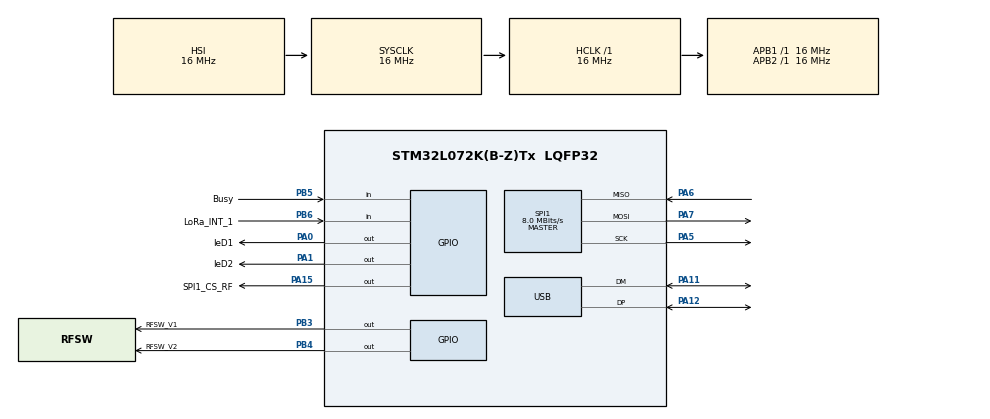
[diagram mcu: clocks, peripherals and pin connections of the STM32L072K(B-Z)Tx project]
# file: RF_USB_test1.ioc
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Mcu.Family=STM32L0
Mcu.Name=STM32L072K(B-Z)Tx
Mcu.Package=LQFP32
NVIC.USB_IRQn=true\:0\:0\:false\:false\:true\:false\:true\:true
PA0.GPIO_Label=leD1
PA0.Signal=GPIO_Output
PA1.GPIO_Label=leD2
PA1.Signal=GPIO_Output
PA11.Mode=Device
PA11.Signal=USB_DM
PA12.Mode=Device
PA12.Signal=USB_DP
PA13.Mode=Serial_Wire
PA13.Signal=SYS_SWDIO
PA14.Mode=Serial_Wire
PA14.Signal=SYS_SWCLK
PA15.GPIO_Label=SPI1_CS_RF
PA15.Signal=GPIO_Output
PA5.Mode=Full_Duplex_Master
PA5.Signal=SPI1_SCK
PA6.Mode=Full_Duplex_Master
PA6.Signal=SPI1_MISO
PA7.Mode=Full_Duplex_Master
PA7.Signal=SPI1_MOSI
PB3.GPIO_Label=RFSW_V1
PB3.Signal=GPIO_Output
PB4.GPIO_Label=RFSW_V2
PB4.Signal=GPIO_Output
PB5.GPIO_Label=Busy
PB5.Signal=GPIO_Input
PB6.GPIO_Label=LoRa_INT_1
PB6.Signal=GPIO_Input
ProjectManager.HeapSize=0x200
ProjectManager.StackSize=0x400
ProjectManager.TargetToolchain=STM32CubeIDE
RCC.AHBFreq_Value=16000000
RCC.APB1Freq_Value=16000000
RCC.APB1TimFreq_Value=16000000
RCC.APB2Freq_Value=16000000
RCC.APB2TimFreq_Value=16000000
RCC.HCLKFreq_Value=16000000
RCC.HSI16_VALUE=16000000
RCC.HSI48MClockSelection=RCC_USBCLKSOURCE_HSI48
RCC.HSI48_VALUE=48000000
RCC.HSI_VALUE=16000000
RCC.LSE_VALUE=32768
RCC.MSI_VALUE=2097000
RCC.PLLMUL=RCC_PLLMUL_6
RCC.SYSCLKFreq_VALUE=16000000
RCC.SYSCLKSource=RCC_SYSCLKSOURCE_HSI
RCC.VCOOutputFreq_Value=96000000
SPI1.BaudRatePrescaler=SPI_BAUDRATEPRESCALER_2
SPI1.CalculateBaudRate=8.0 MBits/s
SPI1.Direction=SPI_DIRECTION_2LINES
SPI1.Mode=SPI_MODE_MASTER
SPI1.VirtualType=VM_MASTER
USB_DEVICE.CLASS_NAME_FS=CDC
USB_DEVICE.VirtualMode=Cdc
USB_DEVICE.VirtualModeFS=Cdc_FS
VP_USB_DEVICE_VS_USB_DEVICE_CDC_FS.Mode=CDC_FS
board=custom

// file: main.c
/* USER CODE BEGIN Header */
/**
  ******************************************************************************
  * @file           : main.c
  * @brief          : Main program body
  ******************************************************************************
  * @attention
  *
  * Copyright (c) 2026 STMicroelectronics.
  * All rights reserved.
  *
  * This software is licensed under terms that can be found in the LICENSE file
  * in the root directory of this software component.
  * If no LICENSE file comes with this software, it is provided AS-IS.
  *
  ******************************************************************************
  */
/* USER CODE END Header */
#include "main.h"
#include "usb_device.h"

/* USER CODE BEGIN Includes */
#include <llcc68.h>
#include <llcc68_hal.h>

#include "usb_device.h"
#include "usbd_cdc_if.h"

/* USER CODE END Includes */

/* USER CODE BEGIN PM */
#define PIN_LOW(port, pin)   		HAL_GPIO_WritePin((port), (pin), GPIO_PIN_RESET)
#define PIN_HIGH(port, pin)  		HAL_GPIO_WritePin((port), (pin), GPIO_PIN_SET)

/* USER CODE END PM */

SPI_HandleTypeDef hspi1;

void SystemClock_Config(void);
static void MX_GPIO_Init(void);
static void MX_SPI1_Init(void);

int main(void)
{

  /* MCU Configuration--------------------------------------------------------*/

  /* Reset of all peripherals, Initializes the Flash interface and the Systick. */
  HAL_Init();

  /* Configure the system clock */
  SystemClock_Config();

  /* Initialize all configured peripherals */
  MX_GPIO_Init();
  MX_SPI1_Init();
  MX_USB_DEVICE_Init();
  /* USER CODE BEGIN 2 */
  //--------------------------------------Initialization Functions-------------------------------------//
  //RF_RX_Init_and_Receive();
    RF_RX_Init();

    uint8_t RX_buf[32] = {0};

    //uint8_t RX_buf[28] = {0, 1, 2, 3, 4, 5, 6, 7, 8, 9, 10, 11, 12, 13, 14, 15, 16, 17, 18, 19, 20, 21, 22, 23, 24, 25, 26, 27}; //{0}; for testing
    //uint8_t TxBuffer[] = "0,1,2,3,4,5,6,7,8,9,10,11,12,13,14,15,16,17,18,19,20,21,22,23,24,25,26,27\r\n";
    //uint8_t TxBufferLen = sizeof(TxBuffer);

    //RF_RX_receive(RX_buf);

    //__NOP();

  /* USER CODE END 2 */

  /* Infinite loop */
  /* USER CODE BEGIN WHILE */

    uint32_t t0 = 500;
    uint32_t tf = 0;

  while (1)
  {

	  /* //TEST Code---------------------------------------------------------Test Code---------------------------
	  if(RX_buf[27] == 250)
	  {
		  for(uint8_t i = 0 ; i < 28 ; i++)
		  	  {

		  		  RX_buf[i] = i;
		  	  }
	  }

	  for(uint8_t i = 0 ; i < 32 ; i++)
	  {

		  RX_buf[i] = RX_buf[i] + 1;
	  }
	  */

	  RF_RX_receive(RX_buf); //D1 with be on while waiting for RX confirmed  D2 will flash if Error occurs
	  //Does go into an infinite while loop, waits for Rx interupt bit

	  char tx_buf[128];

	  snprintf(tx_buf, sizeof(tx_buf),
	           "%d,%d,%d,%d,%d,%d,%d,%d,%d,%d,%d,%d,%d,%d,%d,%d,%d,%d,%d,%d,%d,%d,%d,%d,%d,%d,%d,%d\r\n",
			   RX_buf[0], RX_buf[1], RX_buf[2], RX_buf[3],
			   RX_buf[4], RX_buf[5], RX_buf[6], RX_buf[7], RX_buf[8], RX_buf[9], RX_buf[10],
			   RX_buf[11], RX_buf[12], RX_buf[13], RX_buf[14], RX_buf[15], RX_buf[16], RX_buf[17],
			   RX_buf[18], RX_buf[19], RX_buf[20], RX_buf[21], RX_buf[22], RX_buf[23], RX_buf[24],
			   RX_buf[25], RX_buf[26], RX_buf[27]);

	  //CDC_Transmit_FS((uint8_t*)tx_buf, strlen(tx_buf));

		t0 = HAL_GetTick();

		if ((t0 - tf) < 500)
		{
			HAL_Delay(500 - (t0 - tf));
		}

		CDC_Transmit_FS((uint8_t*)tx_buf, strlen(tx_buf));

		tf = HAL_GetTick();

	  //CDC_Transmit_FS(RX_buf, sizeof(RX_buf));  //TxBuffer, TxBufferLen);

	  //TxBuffer[] = "%d,%d,%d,%d,%d,%d,%d,%d,%d,%d,%d,%d,%d,%d,%d,%d,%d,%d,%d,%d,%d,%d,%d,%d,%d,%d,%d\r\n";
    /* USER CODE END WHILE */

  }
}

void SystemClock_Config(void)
{
  RCC_OscInitTypeDef RCC_OscInitStruct = {0};
  RCC_ClkInitTypeDef RCC_ClkInitStruct = {0};
  RCC_PeriphCLKInitTypeDef PeriphClkInit = {0};

  /** Configure the main internal regulator output voltage
  */
  __HAL_PWR_VOLTAGESCALING_CONFIG(PWR_REGULATOR_VOLTAGE_SCALE1);

  /** Initializes the RCC Oscillators according to the specified parameters
  * in the RCC_OscInitTypeDef structure.
  */
  RCC_OscInitStruct.OscillatorType = RCC_OSCILLATORTYPE_HSI|RCC_OSCILLATORTYPE_HSI48;
  RCC_OscInitStruct.HSIState = RCC_HSI_ON;
  RCC_OscInitStruct.HSICalibrationValue = RCC_HSICALIBRATION_DEFAULT;
  RCC_OscInitStruct.HSI48State = RCC_HSI48_ON;
  RCC_OscInitStruct.PLL.PLLState = RCC_PLL_NONE;
  if (HAL_RCC_OscConfig(&RCC_OscInitStruct) != HAL_OK)
  {
    Error_Handler();
  }

  /** Initializes the CPU, AHB and APB buses clocks
  */
  RCC_ClkInitStruct.ClockType = RCC_CLOCKTYPE_HCLK|RCC_CLOCKTYPE_SYSCLK
                              |RCC_CLOCKTYPE_PCLK1|RCC_CLOCKTYPE_PCLK2;
  RCC_ClkInitStruct.SYSCLKSource = RCC_SYSCLKSOURCE_HSI;
  RCC_ClkInitStruct.AHBCLKDivider = RCC_SYSCLK_DIV1;
  RCC_ClkInitStruct.APB1CLKDivider = RCC_HCLK_DIV1;
  RCC_ClkInitStruct.APB2CLKDivider = RCC_HCLK_DIV1;

  if (HAL_RCC_ClockConfig(&RCC_ClkInitStruct, FLASH_LATENCY_0) != HAL_OK)
  {
    Error_Handler();
  }
  PeriphClkInit.PeriphClockSelection = RCC_PERIPHCLK_USB;
  PeriphClkInit.UsbClockSelection = RCC_USBCLKSOURCE_HSI48;
  if (HAL_RCCEx_PeriphCLKConfig(&PeriphClkInit) != HAL_OK)
  {
    Error_Handler();
  }
}

static void MX_SPI1_Init(void)
{

  /* SPI1 parameter configuration*/
  hspi1.Instance = SPI1;
  hspi1.Init.Mode = SPI_MODE_MASTER;
  hspi1.Init.Direction = SPI_DIRECTION_2LINES;
  hspi1.Init.DataSize = SPI_DATASIZE_8BIT;
  hspi1.Init.CLKPolarity = SPI_POLARITY_LOW;
  hspi1.Init.CLKPhase = SPI_PHASE_1EDGE;
  hspi1.Init.NSS = SPI_NSS_SOFT;
  hspi1.Init.BaudRatePrescaler = SPI_BAUDRATEPRESCALER_2;
  hspi1.Init.FirstBit = SPI_FIRSTBIT_MSB;
  hspi1.Init.TIMode = SPI_TIMODE_DISABLE;
  hspi1.Init.CRCCalculation = SPI_CRCCALCULATION_DISABLE;
  hspi1.Init.CRCPolynomial = 7;
  if (HAL_SPI_Init(&hspi1) != HAL_OK)
  {
    Error_Handler();
  }

}

static void MX_GPIO_Init(void)
{
  GPIO_InitTypeDef GPIO_InitStruct = {0};

  /* GPIO Ports Clock Enable */
  __HAL_RCC_GPIOA_CLK_ENABLE();
  __HAL_RCC_GPIOB_CLK_ENABLE();

  /*Configure GPIO pin Output Level */
  HAL_GPIO_WritePin(GPIOA, leD1_Pin|leD2_Pin|SPI1_CS_RF_Pin, GPIO_PIN_RESET);

  /*Configure GPIO pin Output Level */
  HAL_GPIO_WritePin(GPIOB, RFSW_V1_Pin|RFSW_V2_Pin, GPIO_PIN_RESET);

  /*Configure GPIO pins : leD1_Pin leD2_Pin SPI1_CS_RF_Pin */
  GPIO_InitStruct.Pin = leD1_Pin|leD2_Pin|SPI1_CS_RF_Pin;
  GPIO_InitStruct.Mode = GPIO_MODE_OUTPUT_PP;
  GPIO_InitStruct.Pull = GPIO_NOPULL;
  GPIO_InitStruct.Speed = GPIO_SPEED_FREQ_LOW;
  HAL_GPIO_Init(GPIOA, &GPIO_InitStruct);

  /*Configure GPIO pins : RFSW_V1_Pin RFSW_V2_Pin */
  GPIO_InitStruct.Pin = RFSW_V1_Pin|RFSW_V2_Pin;
  GPIO_InitStruct.Mode = GPIO_MODE_OUTPUT_PP;
  GPIO_InitStruct.Pull = GPIO_NOPULL;
  GPIO_InitStruct.Speed = GPIO_SPEED_FREQ_LOW;
  HAL_GPIO_Init(GPIOB, &GPIO_InitStruct);

  /*Configure GPIO pins : Busy_Pin LoRa_INT_1_Pin */
  GPIO_InitStruct.Pin = Busy_Pin|LoRa_INT_1_Pin;
  GPIO_InitStruct.Mode = GPIO_MODE_INPUT;
  GPIO_InitStruct.Pull = GPIO_NOPULL;
  HAL_GPIO_Init(GPIOB, &GPIO_InitStruct);

}

void Error_Handler(void)
{
  __disable_irq();
  while (1)
  {
  }
}
